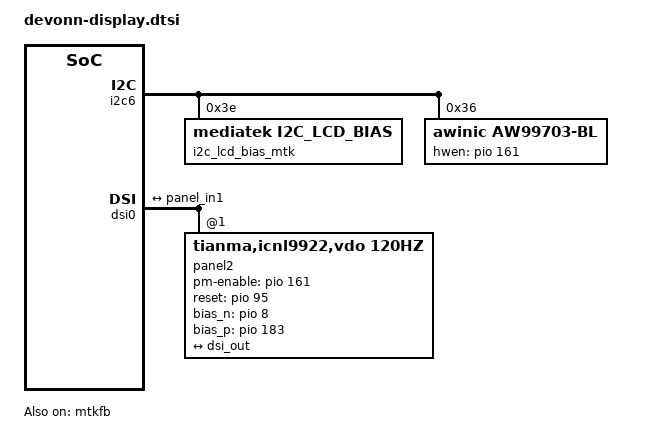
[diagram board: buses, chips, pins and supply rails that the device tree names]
/* Copyright (c) 2021, The Linux Foundation. All rights reserved.
 *
 * This program is free software; you can redistribute it and/or modify
 * it under the terms of the GNU General Public License version 2 and
 * only version 2 as published by the Free Software Foundation.
 *
 * This program is distributed in the hope that it will be useful,
 * but WITHOUT ANY WARRANTY; without even the implied warranty of
 * MERCHANTABILITY or FITNESS FOR A PARTICULAR PURPOSE.  See the
 * GNU General Public License for more details.
 */

&dispsys_config {
	force_dyn_mipi_change;
};

&i2c6 {
	i2c_lcd_bias_mtk:i2c_lcd_bias@3e {
		compatible = "mediatek,i2c_lcd_bias";
		reg = <0x3e>;
		status = "okay";
	};
	aw99703-bl@36 {
		compatible = "awinic,aw99703-bl";
		reg = <0x36>;
		aw99703,hwen-gpio = <&pio 161 0>;
		/* brightness map level 1:256,2:1024,3:2048 */
		aw99703,bl-map = <3>;
		aw99703,using-lsb;
		aw99703,ovp-level = <2>; /* 31V */
		aw99703,ocp-level = <1>; /* 1.8A */
		aw99703,switch-freq = <1>; /* 1000kHz(default) */
		aw99703,auto-freq-high = <0x10>;
		aw99703,auto-freq-low = <0x05>;
		aw99703,bl-fscal-led = <0x15>; /* 21.6mA */
		aw99703,bl-channel = <2>;
		aw99703,turn-on-ramp = <0x09>; /* 256ms */
		aw99703,turn-off-ramp = <0x09>; /* 256ms */
		aw99703,pwm-trans-dim = <0>; /* 2ms */
		aw99703,i2c-trans-dim = <0x07>; /* 512ms */
		aw99703,pwm-mode = <0>; /* 0 pwm enable,1 PWM disable */
		aw99703,map-type = <1>; /* linear */
		aw99703,work-mode = <1>; /* backlight */
		aw99703,flash-timeout-time = <0x05>; /* 500ms(default) */
		aw99703,flash-current = <0x08>; /* 59.2mA(default) */
		aw99703,efuse-config = <0x1C 0x61 0x61 0x4C 0x2C 0xC0 0x08 0x00 0x01 0xC0 0x00 0x00 0x50>;

		status = "okay";
	};
};

&mtk_leds {

	compatible = "mediatek,i2c-leds";

	backlight {
		label = "lcd-backlight";
		led_mode = <6>;
		pwm_config = <0 1 0 0 0>;
		max-brightness = <2047>;
		max-hw-brightness = <2047>;
		default-brightness = <1024>;
	};
};


&pio {
	mtkfb_pins_lcd_bias_enp0: lcd_bias_enp0_gpio {
		pins_cmd_dat {
			pinmux = <PINMUX_GPIO183__FUNC_GPIO183>;
			slew-rate = <1>;
			output-high;
		};
	};

	mtkfb_pins_lcd_bias_enn0: lcd_bias_enn0_gpio {
		pins_cmd_dat {
			pinmux = <PINMUX_GPIO8__FUNC_GPIO8>;
			slew-rate = <1>;
			output-low;
		};
	};

	mtkfb_pins_lcm_rst_out1_gpio: lcm_rst_out1_gpio {
		pins_cmd_dat {
			pinmux = <PINMUX_GPIO95__FUNC_GPIO95>;
			slew-rate = <1>;
			output-high;
		};
	};

	mtkfb_pins_lcm_rst_out0_gpio: lcm_rst_out0_gpio {
		pins_cmd_dat {
			pinmux = <PINMUX_GPIO95__FUNC_GPIO95>;
			slew-rate = <1>;
			output-low;
		};
	};

	mtkfb_pins_lcm_dsi_te: lcm_dsi_te {
		pins_cmd_dat {
			pinmux = <PINMUX_GPIO94__FUNC_DSI_TE>;
		};
	};
};

&mtkfb {
	pinctrl-names = "lcd_bias_enp0_gpio", "lcd_bias_enn0_gpio",
		"lcm_rst_out1_gpio", "lcm_rst_out0_gpio",
		"mode_te_te";
	pinctrl-0 = <&mtkfb_pins_lcd_bias_enp0>;
	pinctrl-1 = <&mtkfb_pins_lcd_bias_enn0>;
	pinctrl-2 = <&mtkfb_pins_lcm_rst_out1_gpio>;
	pinctrl-3 = <&mtkfb_pins_lcm_rst_out0_gpio>;
	pinctrl-4 = <&mtkfb_pins_lcm_dsi_te>;
	status = "okay";
};

&dsi0 {
	status = "okay";

	panel1@0 {
		compatible = "mot,dummy,vdo,60hz";
		reg = <0>;
		pinctrl-names = "default";
		port {
			panel_in1: endpoint {
				remote-endpoint = <&dsi_out>;
			};
		};

	};

	panel2@0 {
		compatible = "tianma,icnl9922,vdo,120hz";
		reg = <1>;
		pm-enable-gpios = <&pio 161 0>;
		reset-gpios = <&pio 95 0>;
		bias_n-gpios = <&pio 8 0>;
		bias_p-gpios = <&pio 183 0>;
		rc-enable = <1>;
		pinctrl-names = "default";
		port {
			panel_in2: endpoint {
				remote-endpoint = <&dsi_out>;
			};
		};

	};

	ports {
		port {
			dsi_out: endpoint {
				remote-endpoint = <&panel_in1>;
			};
		};
	};
};
